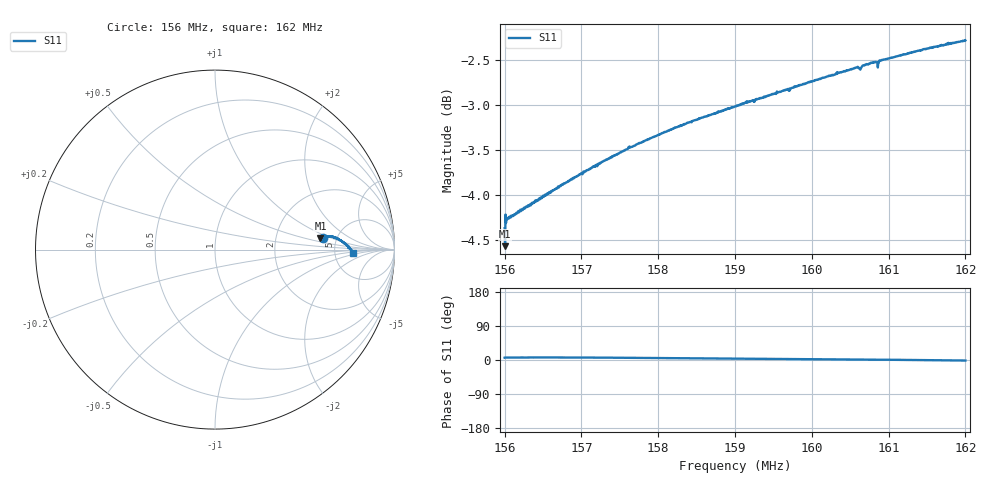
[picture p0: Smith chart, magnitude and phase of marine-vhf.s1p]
! Calibrated averaged scanner-service zoom
# Hz S RI R 50
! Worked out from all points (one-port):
!   1001 points, 156 MHz to 162 MHz, reference 50 ohm
!   lowest |S11| = -4.6 dB at 156.01 MHz (marker M1), VSWR 3.89, Z = 187 + j37 ohm
!   |S11| at or under -10 dB: nowhere
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1.56e8  0.6013 0.0636
1.56006e8  0.5876 0.0644
1.56036e8  0.6078 0.0691
1.56042e8  0.6085 0.0681
1.56114e8  0.6104 0.0695
1.5648e8  0.6254 0.0724
1.5675e8  0.6355 0.0732
1.57104e8  0.6483 0.0725
1.57308e8  0.6555 0.0715
1.575e8  0.6625 0.0688
1.57644e8  0.6674 0.0678
1.58058e8  0.6801 0.0623
1.5825e8  0.6857 0.0593
1.58574e8  0.6944 0.0543
1.59e8  0.7049 0.0474
1.5975e8  0.7226 0.0353
1.59996e8  0.7288 0.0304
1.605e8  0.7403 0.0202
1.60572e8  0.7421 0.0187
1.60626e8  0.7406 0.0193
1.60692e8  0.7449 0.0156
1.60806e8  0.7473 0.0128
1.60854e8  0.7467 0.00984
1.6092e8  0.7496 0.01
1.6125e8  0.7561 0.00186
1.61466e8  0.7602 -0.00391
1.61784e8  0.7648 -0.0133
1.62e8  0.7683 -0.0189
